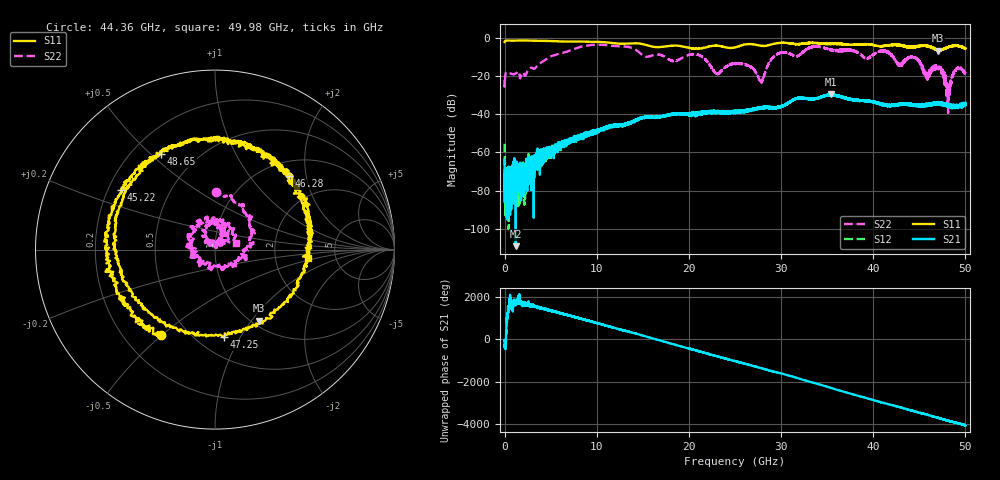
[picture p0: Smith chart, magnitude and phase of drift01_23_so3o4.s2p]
!Created with skrf (http://scikit-rf.org).
# Hz S RI R 50.0
!freq ReS11 ImS11 ReS21 ImS21 ReS12 ImS12 ReS22 ImS22
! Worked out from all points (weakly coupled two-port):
!   10001 points, 300 kHz to 50 GHz, reference 50 ohm
!   highest |S21| = -29.59 dB at 35.42 GHz (marker M1); lowest = -109.2 dB at 1.22 GHz (marker M2)
!   lowest |S11| = -6.7 dB at 47.07 GHz (marker M3), VSWR 2.74, Z = 53.9 - j54.4 ohm
!   |S11| at or under -10 dB: nowhere
!   |S22| runs from -39.4 to -3.6 dB; largest |S21 - S12| = 0.0038
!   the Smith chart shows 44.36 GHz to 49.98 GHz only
!   S11 on the Smith chart (normalised r, x): 44.36 GHz: 0.35, -0.50; 45.22 GHz: 0.25, +0.27; 46.28 GHz: 1.29, +1.59; 47.25 GHz: 0.67, -0.86; 48.65 GHz: 0.32, +0.54; 49.98 GHz: 3.10, -0.42
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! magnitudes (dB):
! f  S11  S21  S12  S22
! 300 kHz  -2.1  -64.1  -55.5  -22.2
! 260.3 MHz  -1.4  -79.7  -79.1  -18.0
! 1.22 GHz  -1.4  -109.2  -71.0  -18.6
! 8.335 GHz  -1.9  -51.8  -50.8  -4.5
! 16.67 GHz  -4.8  -41.9  -41.6  -8.7
! 20.96 GHz  -5.6  -39.1  -39.7  -8.8
! 23.07 GHz  -4.1  -39.3  -39.1  -18.7
! 25 GHz  -5.0  -39.1  -39.2  -13.5
! 27.84 GHz  -4.2  -37.0  -36.5  -22.9
! 29.46 GHz  -2.9  -36.5  -36.8  -8.8
! 33.34 GHz  -2.6  -32.1  -32.0  -4.8
! 35.42 GHz  -2.8  -29.6  -29.7  -6.2
! 41.67 GHz  -3.9  -35.1  -35.6  -7.6
! 44.36 GHz  -4.9  -35.0  -35.3  -9.9
! 45.22 GHz  -4.1  -35.4  -35.6  -14.0
! 46.28 GHz  -4.8  -35.1  -34.6  -15.5
! 47.07 GHz  -6.7  -34.4  -34.8  -16.4
! 47.25 GHz  -6.2  -34.0  -34.8  -17.1
! 48.12 GHz  -4.9  -35.9  -35.5  -35.4
! 48.65 GHz  -4.3  -35.6  -35.5  -20.4
! 49.98 GHz  -5.7  -35.4  -34.8  -18.3
! 50 GHz  -5.6  -35.0  -35.8  -18.8
